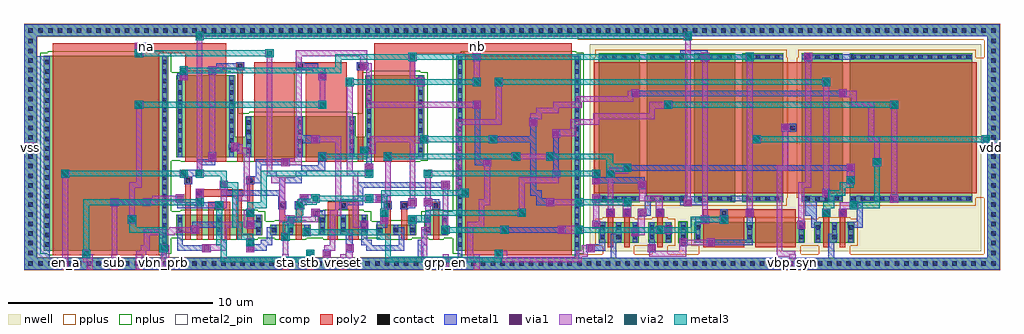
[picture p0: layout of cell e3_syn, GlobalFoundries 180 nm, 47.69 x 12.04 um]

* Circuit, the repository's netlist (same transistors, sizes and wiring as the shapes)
* LVS reference for e3_syn (layout/e3/e3gen.py): E3 synaptic-weight test cell, MIL-452 / MIL-362
* synapse unit pfet 2/6.4 (array 2/4), caps nfet 9.510/5.2
.subckt e3_syn vdd vss vreset abus vbn_prb grp_en en_a en_b rsel sub sta stb vbp_syn
XMFA vdd na pa vss nfet_03v3 W=4u L=2u
XMEA pa en_a sa vss nfet_03v3 W=1u L=0.28u
XMBA sa vbn_prb vss vss nfet_03v3 W=2u L=2u
XMBB sb vbn_prb vss vss nfet_03v3 W=2u L=2u
XMEB pb en_b sb vss nfet_03v3 W=1u L=0.28u
XMFB vdd nb pb vss nfet_03v3 W=4u L=2u
XSCA pa en_a mca vss nfet_03v3 W=1u L=0.28u
XSWA mca rsel ma vss nfet_03v3 W=1u L=0.28u
XSBA ma sub abus vss nfet_03v3 W=1u L=0.28u
XSBB mb sub abus vss nfet_03v3 W=1u L=0.28u
XSWB mcb rsel mb vss nfet_03v3 W=1u L=0.28u
XSCB pb en_b mcb vss nfet_03v3 W=1u L=0.28u
XXNAa daA sta na vss nfet_03v3 W=0.5u L=0.28u
XXNAb dbA stb na vss nfet_03v3 W=0.5u L=0.28u
XSA vreset gb na vss nfet_03v3 W=1u L=0.5u
XSB vreset gb nb vss nfet_03v3 W=1u L=0.5u
XXNBa daB sta nb vss nfet_03v3 W=0.5u L=0.28u
XXNBb dbB stb nb vss nfet_03v3 W=0.5u L=0.28u
XNI gb grp_en vss vss nfet_03v3 W=1u L=0.28u
XXQAa vss sta daA vdd pfet_03v3 W=1u L=0.28u
XXQAb vss stb dbA vdd pfet_03v3 W=1u L=0.28u
XPI gb grp_en vdd vdd pfet_03v3 W=1u L=0.28u
XPHA hA gb vdd vdd pfet_03v3 W=1u L=2u
XPHB hB gb vdd vdd pfet_03v3 W=1u L=2u
XXQBa vss sta daB vdd pfet_03v3 W=1u L=0.28u
XXQBb vss stb dbB vdd pfet_03v3 W=1u L=0.28u
XWAa daA vbp_syn hA vdd pfet_03v3 W=2u L=6.4u
XWAb1 dbA vbp_syn hA vdd pfet_03v3 W=2u L=6.4u
XWAb2 dbA vbp_syn hA vdd pfet_03v3 W=2u L=6.4u
XWAb3 dbA vbp_syn hA vdd pfet_03v3 W=2u L=6.4u
XWBa daB vbp_syn hB vdd pfet_03v3 W=2u L=6.4u
XWBb dbB vbp_syn hB vdd pfet_03v3 W=6u L=6.4u
XCA vss na vss vss nfet_03v3 W=9.51u L=5.2u
XCB vss nb vss vss nfet_03v3 W=9.51u L=5.2u
.ends e3_syn

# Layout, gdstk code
import gdstk
lib = gdstk.Library(unit=1e-6, precision=1e-09)
def R(c, l, rs):  # rectangles x0, y0, x1, y1
    for r in rs: c.add(gdstk.rectangle(r[:2], r[2:], *l))
def A(c, l, x, y, w, h, nx, ny, dx, dy):  # array of equal rectangles
    R(c, l, [(x+i*dx, y+j*dy, x+i*dx+w, y+j*dy+h) for i in range(nx) for j in range(ny)])
nwell = (21, 0)
comp = (22, 0)
poly2 = (30, 0)
pplus = (31, 0)
nplus = (32, 0)
contact = (33, 0)
metal1 = (34, 0)
via1 = (35, 0)
metal2 = (36, 0)
metal2_pin = (36, 10)
via2 = (38, 0)
metal3 = (42, 0)

e3_syn = lib.new_cell('e3_syn')
R(e3_syn, nwell, [(27.63,0.9,46.75,11.01)])
A(e3_syn, comp, 28.06, 3.3, 2, 7.28, 4, 1, 2.34, 0)
R(e3_syn, comp, [(0,0,47.65,0.6), (0,0.6,0.6,11.4), (47.05,0.6,47.65,11.4), (0.94,0.94,7.02,10.45), (21.1,0.94,27.18,10.45), (28.06,1.33,30.02,2.33), (30.48,1.33,31.64,2.33), (31.98,1.33,32.4,2.33), (32.74,1.33,38.14,2.33), (38.6,1.33,40.56,2.33), (7.42,1.7,11.62,2.7), (12.02,1.7,13.98,2.2), (14.38,1.7,16.78,2.7), (17.18,1.7,19.14,2.2), (19.54,1.7,20.7,2.7), (37.98,3.3,39.98,10.58), (40.32,3.3,46.32,10.58), (7.42,5.5,19.54,6.5), (7.42,6.5,10.3,9.5), (10.78,6.5,16.18,7.5), (16.66,6.5,19.54,9.5), (0,11.4,47.65,12)])
R(e3_syn, poly2, [(1.38,0.72,6.58,10.57), (21.54,0.72,26.74,10.57), (28.5,1.11,28.78,2.6), (29.3,1.11,29.58,2.6), (30.92,1.11,31.2,2.6), (33.18,1.11,35.18,2.6), (35.7,1.11,37.7,2.6), (39.04,1.11,39.32,2.6), (39.84,1.11,40.12,2.6), (7.86,1.48,8.14,4.19), (8.42,1.48,8.7,3.57), (8.98,1.48,9.26,2.97), (9.78,1.48,10.06,2.97), (10.34,1.48,10.62,3.57), (10.9,1.48,11.18,4.19), (12.46,1.48,12.74,2.97), (13.26,1.48,13.54,2.97), (14.82,1.48,15.32,2.97), (15.84,1.48,16.34,2.97), (17.62,1.48,17.9,2.97), (18.42,1.48,18.7,2.97), (19.98,1.48,20.26,2.97), (28.46,2.6,28.82,2.96), (29.26,2.6,29.62,2.96), (30.88,2.6,31.24,2.96), (33.18,2.6,37.7,2.96), (39,2.6,39.36,2.96), (39.8,2.6,40.16,2.96), (8.98,2.97,10.06,3.33), (12.42,2.97,12.78,3.33), (13.22,2.97,13.58,3.33), (14.82,2.97,16.34,3.33), (17.58,2.97,17.94,3.33), (18.38,2.97,18.74,3.33), (19.94,2.97,20.3,3.33), (8.38,3.57,10.66,3.93), (27.84,3.74,46.54,10.14), (7.82,4.19,8.18,4.55), (10.86,4.19,11.22,4.55), (7.86,5.28,9.86,10.57), (10.4,5.28,10.68,9.77), (11.22,5.28,13.22,9.77), (13.74,5.28,15.74,9.77), (16.28,5.28,16.56,9.77), (17.1,5.28,19.1,10.57), (10.36,9.77,10.72,10.13), (11.22,9.77,15.74,10.13), (16.24,9.77,16.6,10.13), (1.38,10.57,9.86,11.08), (17.1,10.57,26.74,11.08)])
R(e3_syn, pplus, [(-0.02,-0.02,47.67,0.62), (-0.02,0.62,0.62,11.38), (27.04,0.62,47.67,0.76), (28.27,0.76,29.81,1.17), (30.69,0.76,31.43,1.17), (32.95,0.76,37.93,1.17), (38.81,0.76,40.35,1.17), (46.89,0.76,47.67,3.51), (27.9,1.17,31.8,2.49), (32.58,1.17,40.72,2.49), (28.27,2.49,29.81,2.56), (30.69,2.49,31.43,2.56), (32.95,2.49,37.93,2.56), (38.81,2.49,40.35,2.56), (27.9,3.14,37.24,3.51), (37.82,3.14,46.48,3.51), (27.83,3.51,37.31,10.37), (37.75,3.51,47.67,10.37), (27.9,10.37,37.24,10.74), (37.82,10.37,46.48,10.74), (46.89,10.37,47.67,11.24), (27.04,11.24,47.67,11.38), (-0.02,11.38,47.67,12.02)])
R(e3_syn, nplus, [(1.15,0.71,6.81,0.78), (21.31,0.71,26.97,0.78), (0.78,0.78,7.18,1.54), (20.94,0.78,27.34,1.54), (31.98,1.3,32.4,1.31), (31.96,1.31,32.42,2.35), (7.63,1.47,11.41,1.54), (12.23,1.47,13.77,1.54), (14.59,1.47,16.57,1.54), (17.39,1.47,18.93,1.54), (19.75,1.47,20.49,1.54), (0.78,1.54,27.34,2.36), (31.98,2.35,32.4,2.36), (0.78,2.36,11.78,2.86), (12.23,2.36,13.77,2.43), (14.22,2.36,16.94,2.86), (17.39,2.36,18.93,2.43), (19.38,2.36,27.34,2.86), (0.78,2.86,7.18,5.34), (7.63,2.86,11.41,2.93), (14.59,2.86,16.57,2.93), (19.75,2.86,20.49,2.93), (20.94,2.86,27.34,10.61), (7.63,5.27,19.33,5.34), (0.78,5.34,19.7,7.66), (0.78,7.66,10.46,9.66), (10.99,7.66,15.97,7.73), (16.5,7.66,19.7,9.66), (0.78,9.66,7.18,10.61), (7.63,9.66,10.09,9.73), (16.87,9.66,19.33,9.73), (1.15,10.61,6.81,10.68), (21.31,10.61,26.97,10.68)])
A(e3_syn, contact, 0.685, 0.19, 0.22, 0.22, 99, 2, 0.47, 11.4)
A(e3_syn, contact, 0.19, 0.72, 0.22, 0.22, 1, 23, 0, 0.47)
A(e3_syn, contact, 47.24, 0.72, 0.22, 0.22, 1, 23, 0, 0.47)
A(e3_syn, contact, 1.01, 1.12, 0.22, 0.22, 1, 20, 0, 0.47)
A(e3_syn, contact, 6.73, 1.12, 0.22, 0.22, 1, 20, 0, 0.47)
A(e3_syn, contact, 21.17, 1.12, 0.22, 0.22, 1, 20, 0, 0.47)
A(e3_syn, contact, 26.89, 1.12, 0.22, 0.22, 1, 20, 0, 0.47)
A(e3_syn, contact, 28.13, 1.485, 0.22, 0.22, 3, 2, 0.8, 0.47)
A(e3_syn, contact, 31.35, 1.485, 0.22, 0.22, 3, 2, 0.73, 0.47)
A(e3_syn, contact, 38.67, 1.485, 0.22, 0.22, 3, 2, 0.8, 0.47)
A(e3_syn, contact, 12.09, 1.84, 0.22, 0.22, 3, 1, 0.8, 0)
A(e3_syn, contact, 17.25, 1.84, 0.22, 0.22, 3, 1, 0.8, 0)
A(e3_syn, contact, 7.49, 1.855, 0.22, 0.22, 3, 2, 1.92, 0.47)
A(e3_syn, contact, 14.45, 1.855, 0.22, 0.22, 3, 2, 1.02, 0.47)
A(e3_syn, contact, 13.29, 3.04, 0.22, 0.22, 3, 1, 2.18, 0)
A(e3_syn, contact, 28.245, 3.37, 0.22, 0.22, 4, 2, 0.47, 6.92)
A(e3_syn, contact, 30.585, 3.37, 0.22, 0.22, 4, 2, 0.47, 6.92)
A(e3_syn, contact, 32.925, 3.37, 0.22, 0.22, 4, 2, 0.47, 6.92)
A(e3_syn, contact, 35.265, 3.37, 0.22, 0.22, 4, 2, 0.47, 6.92)
A(e3_syn, contact, 38.165, 3.37, 0.22, 0.22, 4, 2, 0.47, 6.92)
A(e3_syn, contact, 40.39, 3.37, 0.22, 0.22, 13, 2, 0.47, 6.92)
A(e3_syn, contact, 10.85, 5.685, 0.22, 0.22, 3, 4, 2.52, 0.47)
A(e3_syn, contact, 7.49, 5.745, 0.22, 0.22, 1, 8, 0, 0.47)
A(e3_syn, contact, 10.01, 5.745, 0.22, 0.22, 1, 8, 0, 0.47)
A(e3_syn, contact, 16.73, 5.745, 0.22, 0.22, 1, 8, 0, 0.47)
A(e3_syn, contact, 19.25, 5.745, 0.22, 0.22, 1, 8, 0, 0.47)
A(e3_syn, contact, 10.43, 9.84, 0.22, 0.22, 3, 1, 2.94, 0)
R(e3_syn, contact, [(0.19,0.19,0.41,0.41), (47.24,0.19,47.46,0.41), (30.55,1.485,30.77,1.705), (35.33,1.485,35.55,1.705), (37.85,1.485,38.07,1.705), (19.61,1.855,19.83,2.075), (20.41,1.855,20.63,2.075), (30.55,1.955,30.77,2.175), (35.33,1.955,35.55,2.175), (37.85,1.955,38.07,2.175), (19.61,2.325,19.83,2.545), (20.41,2.325,20.63,2.545), (28.53,2.67,28.75,2.89), (29.33,2.67,29.55,2.89), (30.95,2.67,31.17,2.89), (34.07,2.67,34.29,2.89), (39.07,2.67,39.29,2.89), (39.87,2.67,40.09,2.89), (9.41,3.04,9.63,3.26), (12.49,3.04,12.71,3.26), (18.45,3.04,18.67,3.26), (20.01,3.04,20.23,3.26), (8.45,3.64,8.67,3.86), (7.89,4.26,8.11,4.48), (10.93,4.26,11.15,4.48), (37.42,6.83,37.64,7.05), (5.87,10.79,6.09,11.01), (22.03,10.79,22.25,11.01), (0.19,11.59,0.41,11.81), (47.24,11.59,47.46,11.81)])
R(e3_syn, metal1, [(0,0,47.65,0.6), (0,0.6,1.235,10.44), (6.725,0.6,6.955,10.44), (14.58,0.6,14.98,0.98), (19.22,0.6,19.5,1.2), (21.165,0.6,21.395,10.44), (26.885,0.6,27.115,10.44), (28.64,0.6,28.92,1.34), (39.28,0.6,39.56,1.34), (47.05,0.6,47.65,11.4), (8.7,0.86,9.1,0.92), (10.84,0.86,11.24,0.92), (15.7,0.86,16.1,1.26), (27.46,0.86,27.86,0.92), (30.46,0.86,30.86,1.26), (7.46,0.92,9.1,1.2), (10.84,0.92,11.84,1.2), (16.7,0.92,18.56,1.2), (27.46,0.92,28.38,1.26), (31.99,1.14,32.39,1.54), (33.34,1.14,33.74,1.2), (7.46,1.2,7.74,1.97), (8.7,1.2,9.1,1.26), (10.84,1.2,12.12,1.26), (16.46,1.2,16.98,1.48), (18.28,1.2,18.56,1.71), (19.22,1.2,19.68,1.48), (33.34,1.2,35.58,1.48), (11.56,1.26,12.12,1.48), (15.7,1.26,16.04,1.69), (28.1,1.26,28.38,1.48), (30.52,1.26,30.8,1.48), (28.64,1.34,29.155,1.48), (29.725,1.34,29.955,1.63), (31.345,1.34,31.575,1.75), (32.805,1.34,33.035,2.06), (37.845,1.34,38.075,2), (38.665,1.34,38.895,2.06), (39.28,1.34,39.695,1.48), (40.265,1.34,40.495,2.06), (11.84,1.48,12.12,1.71), (16.46,1.48,16.74,2), (19.4,1.48,19.68,1.69), (28.125,1.48,28.355,2), (28.64,1.48,29.18,1.76), (30.545,1.48,30.775,2.32), (33.34,1.48,33.74,1.54), (35.325,1.48,35.555,2.06), (39.28,1.48,39.72,1.76), (32.075,1.54,32.305,2.32), (13.6,1.63,14,2.03), (29.64,1.63,30.04,2.03), (15.44,1.69,16.04,1.97), (19.4,1.69,19.86,1.97), (9.405,1.71,9.635,2.06), (11.325,1.71,11.555,2), (11.84,1.71,12.315,1.81), (12.885,1.71,13.115,1.81), (14.445,1.71,14.675,2.32), (17.245,1.71,17.475,1.81), (18.045,1.71,18.56,1.81), (18.845,1.71,19.075,1.81), (20.405,1.71,20.635,1.75), (8.14,1.75,8.54,2.06), (20.38,1.75,20.78,2.15), (23.26,1.75,23.66,1.81), (26.06,1.75,26.46,1.81), (31.26,1.75,31.66,2.15), (28.925,1.76,29.155,2.32), (39.465,1.76,39.695,2.32), (11.84,1.81,12.34,2.09), (12.86,1.81,13.14,2.26), (17.22,1.81,17.5,2.06), (18.02,1.81,18.56,2.09), (18.82,1.81,19.1,2.26), (23.26,1.81,26.46,2.09), (7.485,1.97,7.715,2.69), (15.465,1.97,15.695,2.69), (19.605,1.97,19.835,2.69), (10.84,2,11.555,2.06), (16.4,2,16.8,2.4), (27.74,2,28.355,2.06), (37.76,2,38.16,2.4), (13.685,2.03,13.915,2.19), (29.725,2.03,29.955,2.32), (8.14,2.06,9.66,2.15), (10.84,2.06,11.58,2.34), (17.22,2.06,17.72,2.26), (27.74,2.06,28.38,2.34), (32.78,2.06,33.06,2.26), (35.3,2.06,35.58,2.58), (38.44,2.06,38.92,2.34), (40.24,2.06,40.96,2.34), (12.085,2.09,12.315,2.19), (18.045,2.09,18.275,2.19), (23.26,2.09,23.66,2.15), (26.06,2.09,26.46,2.15), (8.2,2.15,9.66,2.34), (20.405,2.15,20.635,2.69), (31.345,2.15,31.575,2.32), (12.8,2.26,13.2,2.66), (17.22,2.26,17.78,2.34), (18.76,2.26,19.16,2.66), (32.78,2.26,33.46,2.6), (33.98,2.26,34.38,2.66), (14.42,2.32,14.7,2.58), (9.405,2.34,9.635,2.69), (10.84,2.34,11.555,2.4), (17.38,2.34,17.78,2.66), (27.74,2.34,28.14,2.4), (38.44,2.34,38.72,2.64), (40.68,2.34,40.96,3.365), (11.325,2.4,11.555,2.69), (16.485,2.4,16.715,2.69), (14.02,2.58,14.7,2.92), (28.44,2.58,28.84,2.98), (29.24,2.58,29.64,2.98), (29.98,2.58,30.38,2.64), (30.86,2.58,31.26,2.98), (35.24,2.58,35.64,2.98), (38.98,2.58,39.38,2.98), (39.78,2.58,40.18,2.98), (33.06,2.6,33.46,2.66), (29.98,2.64,30.6,2.98), (38.16,2.64,38.72,3.34), (33.99,2.66,34.37,2.97), (14.02,2.92,14.42,2.98), (9.33,2.96,9.71,3.01), (12.41,2.96,12.79,3.34), (13.21,2.96,13.59,3.16), (15.39,2.96,15.77,3.16), (17.57,2.96,17.95,3.28), (18.37,2.96,18.75,3.01), (19.93,2.96,20.31,3.1), (30.32,2.98,30.6,3.365), (7.46,3.01,9.71,3.28), (18.37,3.01,19.1,3.1), (4.2,3.1,4.6,3.16), (5.78,3.1,6.18,3.16), (18.37,3.1,19.16,3.34), (19.52,3.1,20.31,3.34), (25.5,3.1,25.9,3.16), (32.22,3.1,32.62,3.16), (4.2,3.16,6.18,3.44), (13.21,3.16,13.8,3.28), (15.39,3.16,16.56,3.34), (25,3.16,25.9,3.5), (32.05,3.16,33.4,3.365), (7.4,3.28,9.71,3.29), (13.21,3.28,13.86,3.34), (17.16,3.28,17.95,3.34), (27.74,3.28,28.14,3.34), (42.3,3.28,42.7,3.365), (7.4,3.29,7.8,3.68), (9.33,3.29,9.71,3.34), (12.41,3.34,12.74,3.61), (13.34,3.34,13.86,3.44), (15.44,3.34,16.56,3.44), (17.16,3.34,17.9,3.62), (18.76,3.34,19.16,3.5), (19.52,3.34,20.26,3.44), (27.74,3.34,28.38,3.365), (34.52,3.34,35.36,3.365), (38.16,3.34,39.32,3.365), (27.74,3.365,30.05,3.595), (30.32,3.365,37.07,3.595), (37.99,3.365,39.97,3.595), (40.33,3.365,46.31,3.595), (4.2,3.44,4.6,3.5), (5.78,3.44,6.18,3.5), (13.46,3.44,13.86,3.68), (16.28,3.44,16.56,4), (19.52,3.44,19.92,3.5), (25,3.5,25.28,3.61), (8.36,3.55,8.76,3.95), (27.74,3.595,28.38,3.62), (30.32,3.595,30.6,3.62), (32.05,3.595,32.33,3.62), (33.12,3.595,33.4,3.62), (34.52,3.595,35.36,3.62), (38.16,3.595,38.44,3.62), (38.98,3.595,39.38,3.95), (40.68,3.595,40.96,3.62), (42.3,3.595,42.7,3.68), (9.6,3.61,12.74,3.89), (24.72,3.61,25.28,3.89), (17.16,3.62,17.56,3.68), (27.74,3.62,28.14,3.68), (9.6,3.89,9.94,3.94), (12.46,3.89,12.74,4.23), (24.72,3.89,25,6.24), (9.54,3.94,9.94,4.34), (20.38,3.94,20.78,4), (29.98,3.94,30.38,4.23), (16.28,4,20.78,4.28), (27.74,4.17,28.14,4.23), (7.81,4.18,8.19,4.5), (10.85,4.18,11.23,4.23), (10.85,4.23,11.58,4.56), (12.46,4.23,13.54,4.51), (27.74,4.23,30.38,4.34), (20.38,4.28,20.78,4.34), (27.74,4.34,30.32,4.51), (7.58,4.5,8.19,4.56), (25.78,4.5,26.18,4.9), (13.26,4.51,13.54,4.56), (27.74,4.51,28.14,4.57), (7.58,4.56,8.7,4.9), (11.3,4.56,11.58,5.12), (13.26,4.56,13.8,4.84), (16.64,4.78,17.04,5.18), (29.24,4.78,29.64,4.84), (40.18,4.78,40.58,4.84), (13.52,4.84,14.7,5.12), (29.24,4.84,40.58,5.12), (8.42,4.9,8.7,5.12), (25.84,4.9,26.12,6.46), (12.56,5.06,12.96,5.12), (22.42,5.06,22.82,5.12), (8.42,5.12,9.32,5.34), (11.3,5.12,12.96,5.4), (14.36,5.12,14.7,5.34), (22,5.12,22.82,5.46), (29.24,5.12,29.64,5.18), (40.18,5.12,40.58,5.18), (16.7,5.18,16.98,5.68), (8.42,5.34,9.38,5.4), (14.36,5.34,14.76,5.74), (8.98,5.4,9.38,5.74), (12.56,5.4,12.96,5.46), (22,5.46,22.28,7.86), (7.485,5.51,7.715,9.26), (10.005,5.51,10.235,5.8), (10.845,5.51,11.075,7.49), (13.365,5.51,13.595,6.18), (15.885,5.51,16.115,7.49), (19.245,5.51,19.475,8.98), (16.725,5.68,16.955,9.49), (10.005,5.8,10.5,5.86), (9.98,5.86,10.5,6.14), (10.005,6.14,10.5,6.2), (13.365,6.18,14.42,6.24), (22.7,6.18,23.1,6.24), (10.005,6.2,10.235,9.49), (13.34,6.24,14.42,6.52), (22.7,6.24,25,6.52), (25.78,6.46,26.18,6.86), (13.365,6.52,14.42,6.58), (22.7,6.52,23.1,6.58), (24.72,6.52,25,7.02), (13.365,6.58,13.595,7.49), (36.98,6.74,37.38,6.75), (36.98,6.75,37.72,7.13), (24.66,7.02,25.06,7.42), (36.98,7.13,37.38,7.14), (21.9,7.86,22.3,8.26), (29.64,8.42,30.04,8.48), (39.78,8.42,40.18,8.48), (29.64,8.48,40.18,8.76), (29.64,8.76,30.04,8.82), (39.78,8.76,40.18,8.82), (19.16,8.98,19.56,9.38), (7.485,9.26,7.98,9.32), (14.36,9.26,14.76,9.6), (7.46,9.32,7.98,9.6), (19.245,9.38,19.475,9.49), (8.98,9.54,9.38,9.6), (7.58,9.6,7.98,9.66), (8.98,9.6,9.66,9.81), (14.08,9.6,14.76,9.66), (14.08,9.66,14.7,9.76), (16.4,9.75,16.8,9.76), (10.35,9.76,10.73,9.81), (13.29,9.76,14.7,9.88), (16.23,9.76,16.8,10.14), (8.98,9.81,10.73,9.94), (13.29,9.88,14.36,10.09), (9.38,9.94,10.73,10.09), (10.35,10.09,10.73,10.14), (13.29,10.09,13.67,10.14), (16.4,10.14,16.8,10.15), (21.9,10.2,22.3,10.6), (33.06,10.2,33.46,10.285), (38.1,10.2,38.5,10.285), (29.7,10.26,30.6,10.285), (32.05,10.26,32.33,10.285), (34.52,10.26,35.36,10.285), (39.44,10.26,40.52,10.285), (28.07,10.285,37.07,10.515), (37.99,10.285,46.31,10.515), (0,10.44,0.6,11.4), (29.7,10.515,30.6,10.54), (32.05,10.515,33.46,10.6), (34.52,10.515,35.36,10.54), (38.1,10.515,38.5,10.6), (39.44,10.515,40.52,10.54), (21.95,10.6,22.3,10.71), (32.05,10.6,33.4,10.72), (5.4,10.7,5.8,10.71), (5.4,10.71,6.17,11.09), (21.95,10.71,22.33,11.09), (5.4,11.09,5.8,11.1), (0,11.4,47.65,12)])
R(e3_syn, via1, [(14.65,0.65,14.91,0.91), (8.77,0.93,9.03,1.19), (10.91,0.93,11.17,1.19), (15.77,0.93,16.03,1.19), (27.53,0.93,27.79,1.19), (30.53,0.93,30.79,1.19), (32.06,1.21,32.32,1.47), (33.41,1.21,33.67,1.47), (13.67,1.7,13.93,1.96), (29.71,1.7,29.97,1.96), (8.21,1.82,8.47,2.08), (20.45,1.82,20.71,2.08), (23.33,1.82,23.59,2.08), (26.13,1.82,26.39,2.08), (31.33,1.82,31.59,2.08), (10.91,2.07,11.17,2.33), (16.47,2.07,16.73,2.33), (27.81,2.07,28.07,2.33), (37.83,2.07,38.09,2.33), (12.87,2.33,13.13,2.59), (17.45,2.33,17.71,2.59), (18.83,2.33,19.09,2.59), (33.13,2.33,33.39,2.59), (34.05,2.33,34.31,2.59), (14.09,2.65,14.35,2.91), (28.51,2.65,28.77,2.91), (29.31,2.65,29.57,2.91), (30.05,2.65,30.31,2.91), (30.93,2.65,31.19,2.91), (35.31,2.65,35.57,2.91), (39.05,2.65,39.31,2.91), (39.85,2.65,40.11,2.91), (4.27,3.17,4.53,3.43), (5.85,3.17,6.11,3.43), (18.83,3.17,19.09,3.43), (19.59,3.17,19.85,3.43), (25.57,3.17,25.83,3.43), (32.29,3.17,32.55,3.43), (7.47,3.35,7.73,3.61), (13.53,3.35,13.79,3.61), (17.23,3.35,17.49,3.61), (27.81,3.35,28.07,3.61), (42.37,3.35,42.63,3.61), (8.43,3.62,8.69,3.88), (39.05,3.62,39.31,3.88), (9.61,4.01,9.87,4.27), (20.45,4.01,20.71,4.27), (30.05,4.01,30.31,4.27), (27.81,4.24,28.07,4.5), (7.65,4.57,7.91,4.83), (25.85,4.57,26.11,4.83), (16.71,4.85,16.97,5.11), (29.31,4.85,29.57,5.11), (40.25,4.85,40.51,5.11), (12.63,5.13,12.89,5.39), (22.49,5.13,22.75,5.39), (9.05,5.41,9.31,5.67), (14.43,5.41,14.69,5.67), (0.17,5.87,0.43,6.13), (10.17,5.87,10.43,6.13), (14.09,6.25,14.35,6.51), (22.77,6.25,23.03,6.51), (25.85,6.53,26.11,6.79), (37.05,6.81,37.31,7.07), (24.73,7.09,24.99,7.35), (21.97,7.93,22.23,8.19), (29.71,8.49,29.97,8.75), (39.85,8.49,40.11,8.75), (19.23,9.05,19.49,9.31), (7.65,9.33,7.91,9.59), (14.43,9.33,14.69,9.59), (9.05,9.61,9.31,9.87), (16.47,9.82,16.73,10.08), (21.97,10.27,22.23,10.53), (33.13,10.27,33.39,10.53), (38.17,10.27,38.43,10.53), (5.47,10.77,5.73,11.03)])
R(e3_syn, metal2, [(1.85,0,2.15,0.75), (3.05,0,3.35,0.36), (4.25,0,4.55,0.75), (5.45,0,5.75,0.64), (6.65,0,6.95,0.36), (12.61,0,12.91,0.75), (13.81,0,14.11,0.58), (15.43,0,15.73,0.36), (20.43,0,20.73,0.36), (21.95,0,22.25,0.36), (37.38,0,37.68,0.64), (2.88,0.36,3.35,0.58), (6.65,0.36,7.08,0.86), (15.43,0.36,16.04,0.75), (19.4,0.36,20.73,0.64), (21.64,0.36,22.25,0.75), (23.32,0.36,27.24,0.58), (2.82,0.58,3.35,0.75), (13.76,0.58,14.16,0.98), (14.58,0.58,14.98,0.92), (22.98,0.58,27.24,0.64), (5.45,0.64,5.96,0.75), (19.4,0.64,19.68,1.81), (20.43,0.64,20.73,0.75), (22.98,0.64,23.6,0.92), (26.96,0.64,27.52,0.86), (30.52,0.64,32.33,0.86), (36.76,0.64,37.68,0.75), (1.86,0.75,2.14,4.5), (2.82,0.75,3.22,0.98), (4.26,0.75,4.54,3.1), (5.46,0.75,5.96,0.92), (12.62,0.75,12.9,1.42), (15.7,0.75,16.04,0.86), (21.64,0.75,21.92,2.06), (36.76,0.75,37.67,0.92), (6.6,0.86,7.08,1.2), (8.7,0.86,9.1,0.92), (10.84,0.86,11.24,1.54), (15.7,0.86,16.1,1.26), (26.96,0.86,27.86,0.92), (30.46,0.86,32.33,0.92), (5.68,0.92,6.12,1.2), (8.7,0.92,9.88,1.26), (14.58,0.92,15.2,0.98), (22.98,0.92,23.38,0.98), (27.24,0.92,27.86,1.2), (30.46,0.92,30.86,1.26), (31.99,0.92,32.33,1.14), (36.76,0.92,37.04,4.84), (14.64,0.98,15.2,1.2), (31.99,1.14,32.39,1.2), (33.34,1.14,33.74,1.2), (5.84,1.2,6.12,1.69), (6.6,1.2,7,1.26), (14.92,1.2,15.2,2.64), (27.46,1.2,27.86,1.26), (31.99,1.2,33.74,1.48), (9.6,1.26,9.88,2.06), (12.56,1.42,12.96,1.82), (31.99,1.48,32.39,1.54), (33.34,1.48,33.74,1.54), (13.6,1.63,14,2.03), (29.64,1.63,30.04,1.69), (5.84,1.69,7.36,1.81), (29.64,1.69,30.32,2.03), (8.14,1.75,8.54,1.81), (20.38,1.75,20.78,2.15), (23.26,1.75,23.66,2.15), (26.06,1.75,27.3,2.15), (30.86,1.75,31.66,2.15), (5.84,1.81,8.54,1.97), (19.4,1.81,19.86,2.09), (7.08,1.97,8.54,2.09), (10.84,2,11.24,2.06), (16.4,2,16.8,2.06), (27.74,2,28.14,2.4), (37.76,2,38.16,2.4), (29.98,2.03,30.32,2.58), (9.6,2.06,10.44,2.34), (10.72,2.06,11.24,2.92), (16.04,2.06,16.8,2.4), (21.64,2.06,22.48,2.34), (8.14,2.09,8.54,2.15), (19.58,2.09,19.86,3.1), (20.44,2.15,20.72,3.94), (5.06,2.26,5.46,2.66), (12.8,2.26,13.2,2.32), (17.38,2.26,17.78,2.98), (18.76,2.26,19.16,2.66), (33.06,2.26,33.46,2.66), (33.98,2.26,34.38,2.66), (12.46,2.32,14.36,2.58), (10.16,2.34,10.44,3.34), (22.2,2.34,22.48,3.16), (16.04,2.4,16.32,4.56), (27.8,2.4,28.08,3.28), (37.82,2.4,38.1,4), (12.46,2.58,14.42,2.6), (24.1,2.58,24.5,2.98), (28.44,2.58,28.84,2.98), (29.24,2.58,29.64,3.5), (29.98,2.58,30.38,2.98), (30.86,2.58,31.26,2.98), (35.24,2.58,35.64,2.98), (38.98,2.58,39.38,2.98), (39.78,2.58,40.18,2.95), (12.46,2.6,13.2,2.66), (14.02,2.6,14.42,2.98), (14.92,2.64,15.48,2.92), (5.12,2.66,5.4,4), (12.46,2.66,12.74,4.23), (33.12,2.66,33.4,10.2), (10.84,2.92,11.24,2.98), (15.2,2.92,15.48,6.24), (9.32,2.95,9.72,3.01), (13.28,2.95,13.68,3.16), (39.78,2.95,40.74,2.98), (24.16,2.98,24.44,4.23), (28.5,2.98,28.78,4.5), (30.86,2.98,31.2,3.34), (35.3,2.98,35.58,6.18), (39.84,2.98,40.74,3.29), (9.32,3.01,9.88,3.35), (4.2,3.1,4.6,3.5), (5.78,3.1,6.18,3.16), (8.36,3.1,8.76,3.95), (18.76,3.1,19.16,3.5), (19.52,3.1,19.92,3.5), (25.5,3.1,25.9,3.16), (26.9,3.1,27.3,3.16), (32.22,3.1,32.62,3.5), (5.78,3.16,6.52,3.34), (13.28,3.16,13.8,3.28), (22.2,3.16,22.76,3.44), (25.5,3.16,27.3,3.44), (7.4,3.28,7.8,3.34), (13.28,3.28,14.42,3.35), (16.64,3.28,17.56,3.34), (27.74,3.28,28.14,3.68), (42.3,3.28,42.7,3.68), (40.34,3.29,40.74,3.35), (5.78,3.34,7.8,3.5), (10.16,3.34,11,3.62), (16.64,3.34,17.9,3.68), (30.04,3.34,31.2,3.62), (9.6,3.35,9.88,3.94), (13.34,3.35,14.42,3.44), (13.46,3.44,14.42,3.68), (22.48,3.44,22.76,5.06), (25.5,3.44,25.9,3.5), (26.9,3.44,27.3,3.5), (6.24,3.5,7.8,3.62), (18.82,3.5,19.1,6.18), (19.58,3.5,19.86,4.5), (32.28,3.5,32.56,11.22), (21.3,3.55,21.7,3.61), (38.98,3.55,39.38,3.95), (21.08,3.61,21.7,3.95), (7.4,3.62,7.8,3.68), (10.72,3.62,11,5.68), (30.04,3.62,30.38,3.94), (17.62,3.68,17.9,5.34), (42.36,3.68,42.64,7.86), (9.54,3.94,9.94,4.34), (20.38,3.94,20.78,4.34), (29.98,3.94,30.38,4.34), (21.08,3.95,21.36,7.08), (39.04,3.95,39.32,8.98), (5.12,4,5.74,4.28), (37.82,4,38.44,4.28), (27.74,4.17,28.14,4.9), (40.18,4.17,40.58,5.18), (12.06,4.23,12.74,4.51), (24.16,4.23,26.12,4.5), (5.46,4.28,5.74,7.86), (38.16,4.28,38.44,10.2), (1.8,4.5,2.2,4.9), (7.58,4.5,7.98,4.9), (8.36,4.5,8.76,4.9), (16.64,4.5,17.04,5.18), (19.52,4.5,19.92,4.9), (24.16,4.5,26.18,4.51), (28.44,4.5,28.84,4.695), (12.06,4.51,12.34,4.56), (25.78,4.51,26.18,4.9), (11.84,4.56,12.34,4.84), (15.76,4.56,16.32,4.84), (28.44,4.695,29.5,4.78), (28.44,4.78,29.64,4.9), (11.84,4.84,12.12,10.38), (15.76,4.84,16.04,8.98), (36.76,4.84,37.32,5.12), (8.42,4.9,8.7,11.22), (28.58,4.9,29.64,4.985), (29.24,4.985,29.64,5.18), (12.56,5.06,12.96,5.12), (22.42,5.06,22.82,5.46), (41.46,5.06,41.86,5.46), (12.56,5.12,13.54,5.46), (37.04,5.12,37.32,6.74), (8.98,5.34,9.38,5.74), (14.36,5.34,14.76,5.74), (17.56,5.34,17.96,5.74), (23.82,5.34,24.22,5.4), (25.5,5.34,25.9,5.4), (23.82,5.4,25.9,5.68), (13.26,5.46,13.54,10.44), (41.52,5.46,41.8,6.24), (16.4,5.62,16.8,5.68), (10.4,5.68,11,5.8), (16.4,5.68,17.16,6.02), (23.82,5.68,24.22,5.74), (25.5,5.68,25.9,5.74), (9.04,5.74,9.32,9.54), (0,5.8,0.6,6.2), (10.1,5.8,11,5.96), (46.85,5.85,47.65,5.86), (46.84,5.86,47.65,6.15), (10.1,5.96,10.68,6.14), (16.88,6.02,17.16,6.24), (10.1,6.14,10.5,6.2), (46.84,6.15,47.18,6.18), (14.02,6.18,14.42,6.24), (18.82,6.18,19.74,6.24), (22.7,6.18,23.1,6.58), (35.3,6.18,35.98,6.58), (46.78,6.18,47.18,6.58), (14.02,6.24,15.48,6.52), (16.88,6.24,19.74,6.52), (41.24,6.24,41.8,6.52), (25.78,6.46,26.18,6.52), (14.02,6.52,14.42,6.58), (19.34,6.52,19.74,6.58), (25.78,6.52,26.96,6.86), (41.24,6.52,41.52,7.92), (35.3,6.58,35.58,10.2), (36.98,6.74,37.38,7.14), (26.68,6.86,26.96,7.08), (24.66,7.02,25.06,7.36), (21.08,7.08,23.32,7.36), (26.68,7.08,28.08,7.36), (23.04,7.36,23.32,8.98), (24.66,7.36,25.28,7.42), (27.8,7.36,30.8,7.64), (24.72,7.42,25.28,7.64), (25,7.64,26.12,7.92), (30.52,7.64,30.8,7.86), (5.4,7.86,5.8,8.26), (14.36,7.86,14.76,8.26), (21.9,7.86,22.3,7.92), (30.52,7.86,31.66,8.2), (42.3,7.86,42.7,8.26), (16.7,7.92,22.3,8.2), (25.84,7.92,27.24,8.2), (40.4,7.92,41.52,8.2), (16.7,8.2,16.98,9.75), (21.9,8.2,22.3,8.26), (26.96,8.2,29.76,8.42), (31.26,8.2,31.66,8.26), (40.4,8.2,40.68,8.42), (14.42,8.26,14.7,9.26), (26.96,8.42,30.04,8.48), (39.78,8.42,40.68,8.76), (29.48,8.48,30.04,8.76), (29.64,8.76,30.04,8.82), (39.78,8.76,40.18,8.82), (15.7,8.98,16.1,9.38), (19.16,8.98,19.56,9.04), (21.9,8.98,22.3,9.38), (22.98,8.98,23.38,9.38), (38.98,8.98,39.38,9.38), (18.82,9.04,19.56,9.38), (7.58,9.26,7.98,9.94), (14.36,9.26,14.76,9.66), (18.82,9.38,19.1,10.2), (21.96,9.38,22.24,10.2), (8.98,9.54,9.38,9.94), (16.4,9.75,16.98,10.09), (16.4,10.09,16.8,10.15), (16.4,10.15,16.74,10.44), (18.76,10.2,19.16,10.6), (21.9,10.2,22.3,10.6), (33.06,10.2,33.46,10.6), (35.24,10.2,35.64,10.6), (38.1,10.2,38.5,10.6), (5.4,10.38,5.8,11.1), (11.78,10.38,12.18,10.78), (13.26,10.44,16.74,10.72), (8.36,11.22,8.76,11.62), (32.22,11.22,32.62,11.62)])
A(e3_syn, metal2_pin, 1.85, 0, 0.3, 0.75, 5, 1, 1.2, 0)
R(e3_syn, metal2_pin, [(12.61,0,12.91,0.75), (13.81,0,14.11,0.75), (15.43,0,15.73,0.75), (20.43,0,20.73,0.75), (21.95,0,22.25,0.75), (37.38,0,37.68,0.75), (0,5.8,0.6,6.2), (46.85,5.85,47.65,6.15)])
R(e3_syn, via2, [(2.89,0.65,3.15,0.91), (13.83,0.65,14.09,0.91), (23.05,0.65,23.31,0.91), (6.67,0.93,6.93,1.19), (10.91,1.21,11.17,1.47), (12.63,1.49,12.89,1.75), (13.67,1.7,13.93,1.96), (20.45,1.82,20.71,2.08), (23.33,1.82,23.59,2.08), (26.97,1.82,27.23,2.08), (30.93,1.82,31.19,2.08), (5.13,2.33,5.39,2.59), (18.83,2.33,19.09,2.59), (34.05,2.33,34.31,2.59), (10.91,2.65,11.17,2.91), (17.45,2.65,17.71,2.91), (24.17,2.65,24.43,2.91), (39.05,2.65,39.31,2.91), (9.39,3.02,9.65,3.28), (13.35,3.02,13.61,3.28), (40.41,3.02,40.67,3.28), (8.43,3.17,8.69,3.43), (26.97,3.17,27.23,3.43), (29.31,3.17,29.57,3.43), (14.09,3.35,14.35,3.61), (16.71,3.35,16.97,3.61), (21.37,3.62,21.63,3.88), (40.25,4.24,40.51,4.5), (1.87,4.57,2.13,4.83), (7.65,4.57,7.91,4.83), (8.43,4.57,8.69,4.83), (16.71,4.57,16.97,4.83), (19.59,4.57,19.85,4.83), (27.81,4.57,28.07,4.83), (28.51,4.57,28.77,4.83), (29.31,4.85,29.57,5.11), (41.53,5.13,41.79,5.39), (14.43,5.41,14.69,5.67), (17.63,5.41,17.89,5.67), (23.89,5.41,24.15,5.67), (25.57,5.41,25.83,5.67), (16.47,5.69,16.73,5.95), (19.41,6.25,19.67,6.51), (22.77,6.25,23.03,6.51), (35.65,6.25,35.91,6.51), (46.85,6.25,47.11,6.51), (5.47,7.93,5.73,8.19), (14.43,7.93,14.69,8.19), (31.33,7.93,31.59,8.19), (42.37,7.93,42.63,8.19), (15.77,9.05,16.03,9.31), (21.97,9.05,22.23,9.31), (23.05,9.05,23.31,9.31), (39.05,9.05,39.31,9.31), (7.65,9.61,7.91,9.87), (18.83,10.27,19.09,10.53), (35.31,10.27,35.57,10.53), (5.47,10.45,5.73,10.71), (11.85,10.45,12.11,10.71), (8.43,11.29,8.69,11.55), (32.29,11.29,32.55,11.55)])
R(e3_syn, metal3, [(9.6,0.36,14.1,0.58), (17.62,0.36,23.32,0.58), (2.82,0.58,3.22,0.98), (9.6,0.58,14.16,0.64), (17.62,0.58,23.38,0.64), (9.6,0.64,9.88,1.2), (13.76,0.64,14.16,0.98), (17.62,0.64,17.9,1.48), (22.98,0.64,23.38,0.98), (6.6,0.86,7,1.26), (2.88,0.98,3.16,3.16), (10.84,1.14,11.24,1.48), (9.38,1.2,9.88,1.48), (6.6,1.26,6.94,1.81), (12.56,1.42,12.96,1.82), (9.38,1.48,9.66,2.95), (10.4,1.48,11.24,1.54), (17.22,1.48,17.9,1.69), (10.4,1.54,11.18,1.76), (13.6,1.63,14,1.69), (13.6,1.69,17.9,1.76), (20.38,1.75,20.78,1.81), (23.26,1.75,23.66,1.81), (26.9,1.75,27.3,1.81), (30.86,1.75,31.26,1.81), (10.4,1.76,10.68,2.06), (13.6,1.76,17.5,1.97), (5.12,1.81,6.94,2.09), (20.38,1.81,23.66,2.09), (26.9,1.81,32.84,2.09), (12.62,1.82,12.96,2.06), (13.6,1.97,14,2.03), (10.16,2.06,10.68,2.34), (12.62,2.06,13.14,2.32), (5.12,2.09,5.46,2.26), (20.38,2.09,20.78,2.15), (23.26,2.09,23.66,2.15), (26.9,2.09,27.3,2.15), (30.86,2.09,31.26,2.15), (32.56,2.09,32.84,2.32), (5.06,2.26,5.46,2.66), (18.76,2.26,19.16,2.32), (33.98,2.26,34.38,2.32), (12.62,2.32,13.54,2.34), (18.76,2.32,19.86,2.64), (32.56,2.32,34.38,2.6), (10.16,2.34,10.44,4), (12.86,2.34,13.54,2.6), (10.84,2.58,11.24,2.98), (17.38,2.58,17.78,2.98), (24.1,2.58,24.5,2.64), (38.98,2.58,39.38,2.98), (13.26,2.6,13.54,2.64), (33.98,2.6,34.38,2.66), (13.26,2.64,13.62,2.92), (18.76,2.64,24.5,2.66), (19.58,2.66,24.5,2.92), (13.28,2.92,13.62,2.95), (24.1,2.92,24.5,2.98), (9.32,2.95,9.72,3.35), (13.28,2.95,13.68,3.17), (40.34,2.95,40.74,3.01), (10.9,2.98,11.24,3.01), (17.44,2.98,17.72,3.61), (39.04,2.98,39.38,3.01), (10.9,3.01,11.84,3.29), (39.04,3.01,39.56,3.29), (40.34,3.01,41.8,3.29), (8.36,3.1,8.76,3.16), (26.9,3.1,27.3,3.16), (29.24,3.1,29.64,3.16), (2.88,3.16,8.76,3.44), (26.9,3.16,29.64,3.44), (13.28,3.17,14.295,3.28), (13.28,3.28,14.42,3.34), (16.64,3.28,17.04,3.34), (11.56,3.29,11.84,4.56), (39.28,3.29,39.56,3.61), (40.34,3.29,40.74,3.35), (41.52,3.29,41.8,5.06), (13.28,3.34,17.04,3.35), (13.405,3.35,17.04,3.46), (8.36,3.44,8.76,3.5), (26.9,3.44,27.3,3.5), (29.24,3.44,29.64,3.5), (14.02,3.46,17.04,3.62), (21.3,3.55,21.7,3.61), (17.44,3.61,21.7,3.89), (39.28,3.61,40.12,3.89), (14.02,3.62,14.42,3.68), (16.64,3.62,17.04,3.68), (21.3,3.89,21.7,3.95), (39.84,3.89,40.12,4), (9.6,4,10.44,4.28), (39.84,4,40.52,4.17), (39.84,4.17,40.58,4.28), (9.6,4.28,9.88,4.56), (40.18,4.28,40.58,4.57), (1.8,4.5,2.2,4.56), (7.58,4.5,7.98,4.56), (8.36,4.5,8.76,4.56), (16.64,4.5,17.04,4.56), (19.52,4.5,19.92,4.56), (27.74,4.5,28.14,4.56), (28.44,4.5,28.84,4.78), (1.8,4.56,7.98,4.84), (8.36,4.56,9.88,4.84), (11.56,4.56,17.04,4.84), (19.52,4.56,28.14,4.84), (28.44,4.78,29.64,5.18), (1.8,4.84,2.2,4.9), (7.58,4.84,7.98,4.9), (8.36,4.84,8.76,4.9), (16.64,4.84,17.04,4.9), (19.52,4.84,19.92,4.9), (27.74,4.84,28.14,4.9), (41.46,5.06,41.86,5.46), (28.44,5.18,28.78,5.4), (14.36,5.34,14.76,5.4), (17.56,5.34,17.96,5.4), (23.82,5.34,24.22,5.4), (25.5,5.34,25.9,5.4), (14.36,5.4,16.74,5.62), (17.56,5.4,24.22,5.68), (25.5,5.4,28.78,5.68), (14.36,5.62,16.8,5.68), (14.36,5.68,14.76,5.74), (16.4,5.68,16.8,6.02), (17.56,5.68,17.96,5.74), (23.82,5.68,24.22,5.74), (25.5,5.68,25.9,5.74), (19.34,6.18,19.74,6.24), (22.7,6.18,23.1,6.24), (35.58,6.18,35.98,6.24), (46.78,6.18,47.18,6.24), (19.34,6.24,23.1,6.52), (35.58,6.24,47.18,6.52), (19.34,6.52,19.74,6.58), (22.7,6.52,23.1,6.58), (35.58,6.52,35.98,6.58), (46.78,6.52,47.18,6.58), (5.4,7.86,5.8,7.92), (14.36,7.86,14.76,7.92), (31.26,7.86,31.66,7.92), (42.3,7.86,42.7,7.92), (5.4,7.92,14.76,8.2), (31.26,7.92,42.7,8.2), (5.4,8.2,5.8,8.26), (14.36,8.2,14.76,8.26), (31.26,8.2,31.66,8.26), (42.3,8.2,42.7,8.26), (15.7,8.98,16.1,9.04), (21.9,8.98,22.3,9.04), (22.98,8.98,23.38,9.04), (38.98,8.98,39.38,9.04), (15.7,9.04,22.3,9.32), (22.98,9.04,39.38,9.32), (15.7,9.32,16.1,9.38), (21.9,9.32,22.3,9.38), (22.98,9.32,23.38,9.38), (38.98,9.32,39.38,9.38), (7.58,9.54,7.98,9.6), (7.58,9.6,15.48,9.88), (7.58,9.88,7.98,9.94), (15.2,9.88,15.48,10.26), (18.76,10.2,19.16,10.26), (35.24,10.2,35.64,10.26), (15.2,10.26,35.64,10.54), (5.4,10.38,5.8,10.44), (11.78,10.38,12.18,10.44), (5.4,10.44,12.18,10.72), (18.76,10.54,19.16,10.6), (35.24,10.54,35.64,10.6), (5.4,10.72,5.8,10.78), (11.78,10.72,12.18,10.78), (8.36,11.22,8.76,11.28), (32.22,11.22,32.62,11.28), (8.36,11.28,32.62,11.56), (8.36,11.56,8.76,11.62), (32.22,11.56,32.62,11.62)])
e3_syn.add(gdstk.Label('na', (5.98,10.9), layer=34, texttype=0))
e3_syn.add(gdstk.Label('nb', (22.14,10.9), layer=34, texttype=0))
e3_syn.add(gdstk.Label('en_a', (2,0.375), layer=36, texttype=10))
e3_syn.add(gdstk.Label('rsel', (3.2,0.375), layer=36, texttype=10))
e3_syn.add(gdstk.Label('sub', (4.4,0.375), layer=36, texttype=10))
e3_syn.add(gdstk.Label('abus', (5.6,0.375), layer=36, texttype=10))
e3_syn.add(gdstk.Label('vbn_prb', (6.8,0.375), layer=36, texttype=10))
e3_syn.add(gdstk.Label('sta', (12.76,0.375), layer=36, texttype=10))
e3_syn.add(gdstk.Label('stb', (13.96,0.375), layer=36, texttype=10))
e3_syn.add(gdstk.Label('vreset', (15.58,0.375), layer=36, texttype=10))
e3_syn.add(gdstk.Label('grp_en', (20.58,0.375), layer=36, texttype=10))
e3_syn.add(gdstk.Label('en_b', (22.1,0.375), layer=36, texttype=10))
e3_syn.add(gdstk.Label('vbp_syn', (37.53,0.375), layer=36, texttype=10))
e3_syn.add(gdstk.Label('vss', (0.3,6), layer=36, texttype=10))
e3_syn.add(gdstk.Label('vdd', (47.25,6), layer=36, texttype=10))

lib.write_gds('e3_syn.gds')
